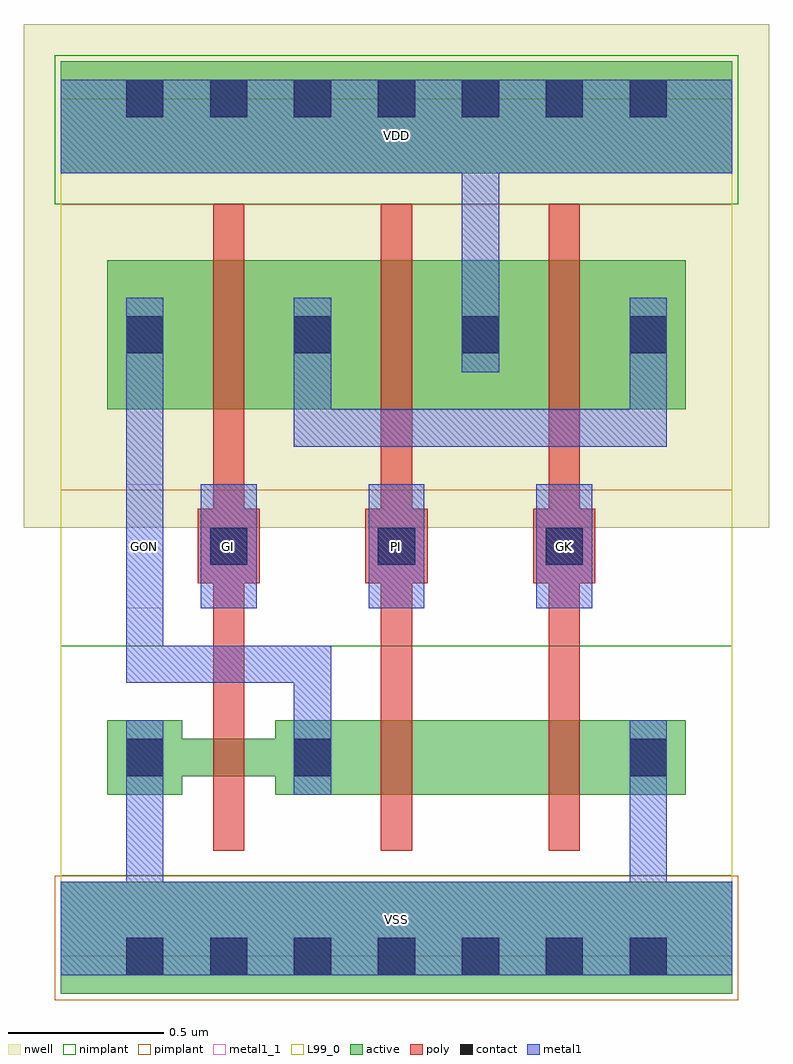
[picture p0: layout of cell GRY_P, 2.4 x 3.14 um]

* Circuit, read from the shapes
.subckt GRY_P GI GK GON PI VDD VSS
M1 GON GI VSS VSS nfet w=0.12u l=0.1u
M2 n1 PI GON VSS nfet w=0.24u l=0.1u
M3 VSS GK n1 VSS nfet w=0.24u l=0.1u
M4 n2 GI GON VDD pfet w=0.48u l=0.1u
M5 VDD PI n2 VDD pfet w=0.48u l=0.1u
M6 n2 GK VDD VDD pfet w=0.48u l=0.1u
.ends

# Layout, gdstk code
import gdstk
lib = gdstk.Library(unit=1e-6, precision=5e-10)
def R(c, l, rs):  # rectangles x0, y0, x1, y1
    for r in rs: c.add(gdstk.rectangle(r[:2], r[2:], *l))
def A(c, l, x, y, w, h, nx, ny, dx, dy):  # array of equal rectangles
    R(c, l, [(x+i*dx, y+j*dy, x+i*dx+w, y+j*dy+h) for i in range(nx) for j in range(ny)])
active = (1, 0)
nwell = (2, 0)
poly = (3, 0)
nimplant = (4, 0)
pimplant = (5, 0)
contact = (6, 0)
metal1 = (7, 0)
metal1_1 = (7, 1)
L99_0 = (99, 0)

aoi21_x1 = lib.new_cell('AOI21_X1')
A(aoi21_x1, active, 0.15, 0.52, 0.24, 0.24, 4, 1, 0.54, 0)
A(aoi21_x1, active, 0.15, 1.76, 0.24, 0.48, 4, 1, 0.54, 0)
A(aoi21_x1, active, 0.39, 1.76, 0.3, 0.48, 3, 1, 0.54, 0)
R(aoi21_x1, active, [(0,-0.12,2.16,0.24), (0.93,0.52,1.23,0.76), (1.47,0.52,1.77,0.76), (0.39,0.58,0.69,0.7), (0,2.52,2.16,2.88)])
R(aoi21_x1, nwell, [(-0.12,1.38,2.28,3)])
A(aoi21_x1, poly, 0.49, 0.34, 0.1, 2.08, 3, 1, 0.54, 0)
A(aoi21_x1, poly, 0.44, 1.2, 0.2, 0.24, 3, 1, 0.54, 0)
R(aoi21_x1, nimplant, [(0,0.26,2.16,1), (-0.02,2.42,2.18,2.9)])
R(aoi21_x1, pimplant, [(-0.02,-0.14,2.18,0.26), (0,1.5,2.16,2.42)])
A(aoi21_x1, contact, 0.21, -0.06, 0.12, 0.12, 7, 2, 0.27, 2.76)
A(aoi21_x1, contact, 0.48, 1.26, 0.12, 0.12, 3, 1, 0.54, 0)
A(aoi21_x1, contact, 0.21, 1.94, 0.12, 0.12, 4, 1, 0.54, 0)
R(aoi21_x1, contact, [(0.21,0.58,0.33,0.7), (0.75,0.58,0.87,0.7), (1.83,0.58,1.95,0.7)])
A(aoi21_x1, metal1, 0.45, 1.12, 0.18, 0.4, 3, 1, 0.54, 0)
A(aoi21_x1, metal1, 0.21, 1.88, 0.12, 0.24, 4, 1, 0.54, 0)
R(aoi21_x1, metal1, [(0,-0.06,2.16,0.24), (0.21,0.06,0.33,0.7), (1.83,0.06,1.95,0.7), (0.21,0.52,0.33,0.76), (0.75,0.52,0.87,0.76), (1.83,0.52,1.95,0.76), (0.75,0.58,0.87,1), (0.21,0.88,0.33,2.06), (0.21,0.88,0.87,1), (0.75,1.64,0.87,2.06), (0.75,1.64,1.95,1.76), (1.83,1.64,1.95,2.06), (1.29,1.94,1.41,2.7), (0,2.52,2.16,2.82)])
A(aoi21_x1, metal1_1, 0.45, 1.12, 0.18, 0.4, 3, 1, 0.54, 0)
R(aoi21_x1, metal1_1, [(0,0,2.16,0.24), (0.21,1.12,0.33,1.52), (0,2.52,2.16,2.76)])
R(aoi21_x1, L99_0, [(0,0,2.16,2.76)])
aoi21_x1.add(gdstk.Label('Y', (0.27,1.32), layer=7, texttype=3))
aoi21_x1.add(gdstk.Label('A2', (1.62,1.32), layer=7, texttype=3))
aoi21_x1.add(gdstk.Label('A1', (1.08,1.32), layer=7, texttype=3))
aoi21_x1.add(gdstk.Label('B', (0.54,1.32), layer=7, texttype=3))
aoi21_x1.add(gdstk.Label('VDD', (1.08,2.64), layer=7, texttype=3))
aoi21_x1.add(gdstk.Label('VSS', (1.08,0.12), layer=7, texttype=3))

gry_p = lib.new_cell('GRY_P')
A(gry_p, metal1_1, 0.45, 1.12, 0.18, 0.4, 3, 1, 0.54, 0)
R(gry_p, metal1_1, [(0,0,2.16,0.24), (0.21,1.12,0.33,1.52), (0,2.52,2.16,2.76)])
R(gry_p, L99_0, [(0,0,2.16,2.76)])
gry_p.add(gdstk.Reference(aoi21_x1, (0,0)))
gry_p.add(gdstk.Label('VDD', (1.08,2.64), layer=7, texttype=3))
gry_p.add(gdstk.Label('VSS', (1.08,0.12), layer=7, texttype=3))
gry_p.add(gdstk.Label('GON', (0.27,1.32), layer=7, texttype=3))
gry_p.add(gdstk.Label('GK', (1.62,1.32), layer=7, texttype=3))
gry_p.add(gdstk.Label('PI', (1.08,1.32), layer=7, texttype=3))
gry_p.add(gdstk.Label('GI', (0.54,1.32), layer=7, texttype=3))

lib.write_gds('GRY_P.gds')
